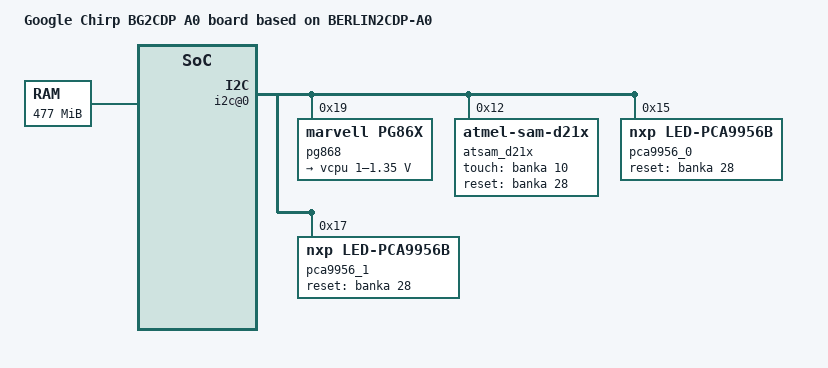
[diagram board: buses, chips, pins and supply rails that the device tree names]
/*
 * Google Chirp BG2CDP A0 board device tree source
 *
 * Copyright (c) 2013 Marvell International Ltd.
 *		http://www.marvell.com
 *
 * This program is free software; you can redistribute it and/or modify
 * it under the terms of the GNU General Public License version 2 as
 * published by the Free Software Foundation.
*/

/dts-v1/;
/include/ "berlin2cdp-a0.dtsi"

/ {
	model = "Google Chirp BG2CDP A0 board based on BERLIN2CDP-A0";
	compatible = "marvell,berlin2cdp-chirp", "marvell,berlin2cdp", "marvell,berlin";

	cpus {
		cpu@0 {
			cpu0-supply = <&vcpu>;
		};
	};

	memory {
		name = "memory";
		device_type = "memory";
		reg = <0x01100000 0x1DD00000>;
	};

	soc {
		shm@29000000 {
			compatible = "mrvl,berlin-shm";
			reg = <0x1EE00000 0x01000000>, <0x1FE00000 0x00100000>;
		};

		i2c@0 {
			pg868 {
				#address-cells = <1>;
				#size-cells = <0>;
				compatible = "marvell,pg86x";
				reg = <0x19>;
				vcpu:BK1_TV@0 {
					regulator-name = "vcpu";
					regulator-min-microvolt = <1000000>;
					regulator-max-microvolt = <1350000>;
					regulator-always-on;
					regulator-boot-on;
				};
			};
			atsam_d21x {
				compatible = "atmel-sam-d21x";
				reg = <0x12>;
				touch_gpio = <&banka 10 0>;
				reset_gpio = <&banka 28 0>;
				max_x = <315>;
				max_y = <315>;
			};
			pca9956_0 {
				compatible = "nxp,led-pca9956b";
				reg = <0x15>;
				num_leds = <6>;
				//starting LED # of each set
				start_num = <0 3 6 9 12 15>;
				reset_gpio = <&banka 28 0>;
			};
			pca9956_1 {
				compatible = "nxp,led-pca9956b";
				reg = <0x17>;
				num_leds = <6>;
				//starting LED # of each set
				start_num = <0 3 6 9 12 15>;
				reset_gpio = <&banka 28 0>;
			};
		};

		tsen@F7FCD000 {
			pwr-gpio = <&banka 5 0>;
		};
	};
};
